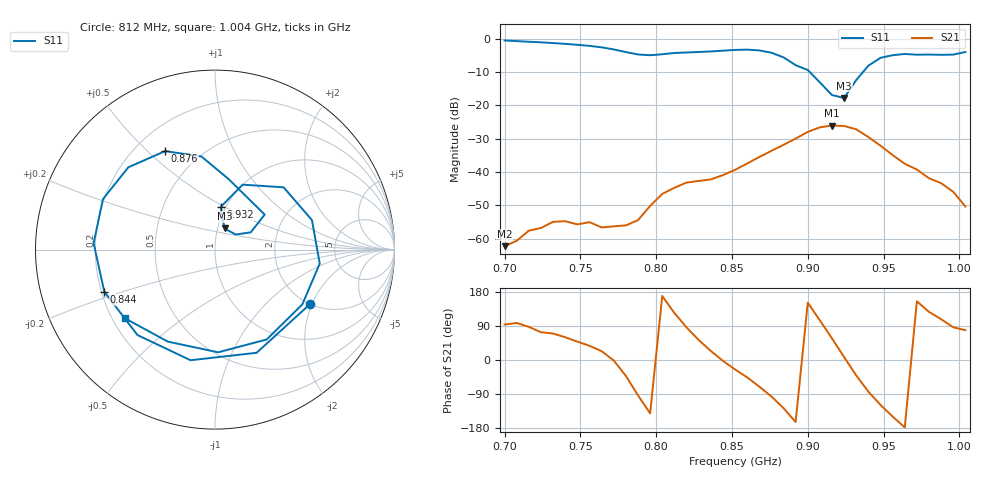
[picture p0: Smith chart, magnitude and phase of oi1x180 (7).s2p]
# Hz S RI R 50
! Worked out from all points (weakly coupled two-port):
!   39 points, 700 MHz to 1.004 GHz, reference 50 ohm
!   highest |S21| = -26.04 dB at 916 MHz (marker M1); lowest = -62.2 dB at 700 MHz (marker M2)
!   lowest |S11| = -17.8 dB at 924 MHz (marker M3), VSWR 1.30, Z = 54 + j12.9 ohm
!   |S11| at or under -10 dB: 901.3 MHz to 936.5 MHz (35.19 MHz wide, 3.83 % of centre)
!   S12 and S22 are empty: the file has one direction only
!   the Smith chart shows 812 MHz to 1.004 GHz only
!   S11 on the Smith chart (normalised r, x): 812 MHz: 1.99, -1.93; 844 MHz: 0.21, -0.18; 876 MHz: 0.32, +0.57; 932 MHz: 0.95, +0.48; 1.004 GHz: 0.25, -0.32
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7e8  0.7551 0.5582  -4.88e-05 0.000775  0 0  0 0
7.24e8  0.8443 -0.2506  0.000419 0.00139  0 0  0 0
7.4e8  0.4559 -0.6996  0.000919 0.00159  0 0  0 0
7.56e8  -0.1933 -0.7552  0.00141 0.00108  0 0  0 0
7.72e8  -0.662 -0.1927  0.00154 -3.37e-05  0 0  0 0
7.8e8  -0.5841 0.2339  0.00118 -0.00106  0 0  0 0
7.88e8  -0.2276 0.5321  -0.000109 -0.0019  0 0  0 0
7.96e8  0.2589 0.5012  -0.00241 -0.00196  0 0  0 0
8.04e8  0.5668 0.138  -0.00462 0.000916  0 0  0 0
8.12e8  0.5278 -0.3052  -0.00328 0.00483  0 0  0 0
8.28e8  -0.1363 -0.6164  0.00444 0.00588  0 0  0 0
8.44e8  -0.6167 -0.2349  0.00901 -0.000358  0 0  0 0
8.52e8  -0.6762 0.0355  0.00983 -0.00452  0 0  0 0
8.76e8  -0.278 0.5488  -0.00223 -0.0207  0 0  0 0
9e8  0.2769 0.1949  -0.0351 0.0193  0 0  0 0
9.08e8  0.199 0.096  -0.0117 0.0454  0 0  0 0
9.16e8  0.1154 0.0841  0.0274 0.0417  0 0  0 0
9.24e8  0.0529 0.1176  0.0486 0.00665  0 0  0 0
9.32e8  0.0317 0.2378  0.0331 -0.0287  0 0  0 0
9.56e8  0.5402 0.1641  -0.0155 -0.00919  0 0  0 0
9.8e8  0.2881 -0.5007  -0.00485 0.00646  0 0  0 0
1.004e9  -0.5017 -0.3829  0.000598 0.00299  0 0  0 0
